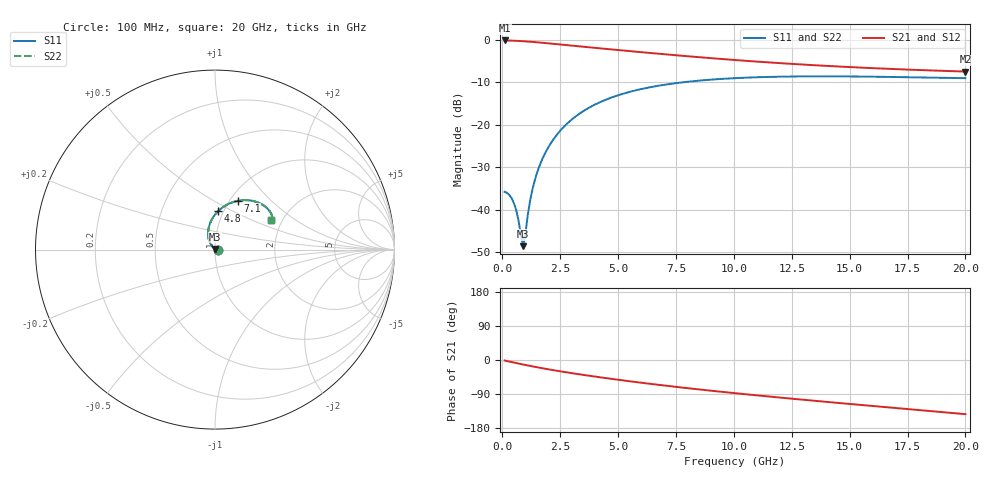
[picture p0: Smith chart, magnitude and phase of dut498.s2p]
! Touchstone file exported from HFSS 2024.1.0
!  File:  C:/UserFiles/LocalFiles/RDL_TSV_Batchsim/temp_RDL_TSV_498_1779736783.aedt
!  Generated:  03:34:38 AM May 26, 2026
!  Design:  RDL_TSV
!  Project:  temp_RDL_TSV_498_1779736783
!  Setup:  Setup1
!  Solution:  Sweep
! Variables:
!  dtsv = 9.8um
!  hbump = 3um
!  htsv = 80.74um
!  ldown = 223.15um
!  lrdl = 245.64um
!  p = 40
!  p1 = 51.01um
!  rhole = 10um
!  subl = 1652.01um
!  t = 450um
!  tdown = 4.41um
!  trdl = 2.44um
!  viad = 10um
!  wdown = 22um
!  wrdl = 10.49um
!  xbump = 18um
# GHz S MA R 50.000000
! Terminal data exported
! Port[1] = TM1_1_T1
! Port[2] = TM1_4_T1
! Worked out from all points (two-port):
!   200 points, 100 MHz to 20 GHz, reference 50 ohm
!   highest |S21| = -0.15 dB at 100 MHz (marker M1); lowest = -7.5 dB at 20 GHz (marker M2)
!   |S21| within 3 dB of the highest: start of sweep to 6.496 GHz
!   lowest |S11| = -48.5 dB at 900 MHz (marker M3), VSWR 1.01, Z = 50.2 + j0.33 ohm
!   |S11| at or under -10 dB: start of sweep to 7.77 GHz
!   |S22| runs from -48.5 to -8.6 dB; largest |S21 - S12| = 1.2e-14
!   S11 on the Smith chart (normalised r, x): 100 MHz: 1.03, -0.00; 4.8 GHz: 0.94, +0.42; 7.1 GHz: 1.09, +0.65; 20 GHz: 1.75, +0.66
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0.1  0.01637 -0.3  0.9831 -1.4  0.9831 -1.4  0.01637 -0.3
! Gamma 0 0 0 0
! Port Impedance 50 0 50 0
0.3  0.01506 -1.1  0.9807 -4.1  0.9807 -4.1  0.01506 -1.1
0.5  0.01208 -1.0  0.9763 -6.7  0.9763 -6.7  0.01208 -1.0
0.7  0.007579 6.3  0.9704 -9.3  0.9704 -9.3  0.007577 6.3
0.9  0.003752 61.2  0.9632 -11.9  0.9632 -11.9  0.003751 61.2
1  0.005295 104.7  0.9592 -13.1  0.9592 -13.1  0.005297 104.8
1.1  0.008707 122.1  0.9549 -14.4  0.9549 -14.4  0.00871 122.1
1.2  0.01283 128.3  0.9503 -15.6  0.9503 -15.6  0.01284 128.3
1.3  0.01736 130.6  0.9456 -16.8  0.9456 -16.8  0.01737 130.6
1.5  0.02726 130.8  0.9357 -19.1  0.9357 -19.1  0.02727 130.8
1.7  0.038 128.8  0.9252 -21.4  0.9252 -21.4  0.03801 128.8
2  0.05518 124.4  0.9091 -24.7  0.9091 -24.7  0.0552 124.5
2.4  0.07922 118.0  0.8872 -28.8  0.8872 -28.8  0.07925 118.1
2.9  0.1097 110.2  0.8603 -33.8  0.8603 -33.8  0.1098 110.2
3.5  0.1453 101.5  0.8293 -39.3  0.8293 -39.3  0.1454 101.5
4.8  0.2137 85.6  0.7673 -50.5  0.7673 -50.5  0.2138 85.6
6.8  0.2904 67.4  0.6843 -65.9  0.6843 -65.9  0.2905 67.4
7.1  0.2991 65.2  0.6731 -68.1  0.6731 -68.1  0.2993 65.2
10.1  0.355 47.7  0.5776 -87.9  0.5776 -87.9  0.3552 47.7
13.4  0.3722 36.0  0.5043 -107.2  0.5043 -107.2  0.3725 36.0
16.7  0.3664 29.8  0.4558 -125.2  0.4558 -125.2  0.3668 29.8
20  0.3542 28.0  0.4235 -142.9  0.4235 -142.9  0.3546 27.9
